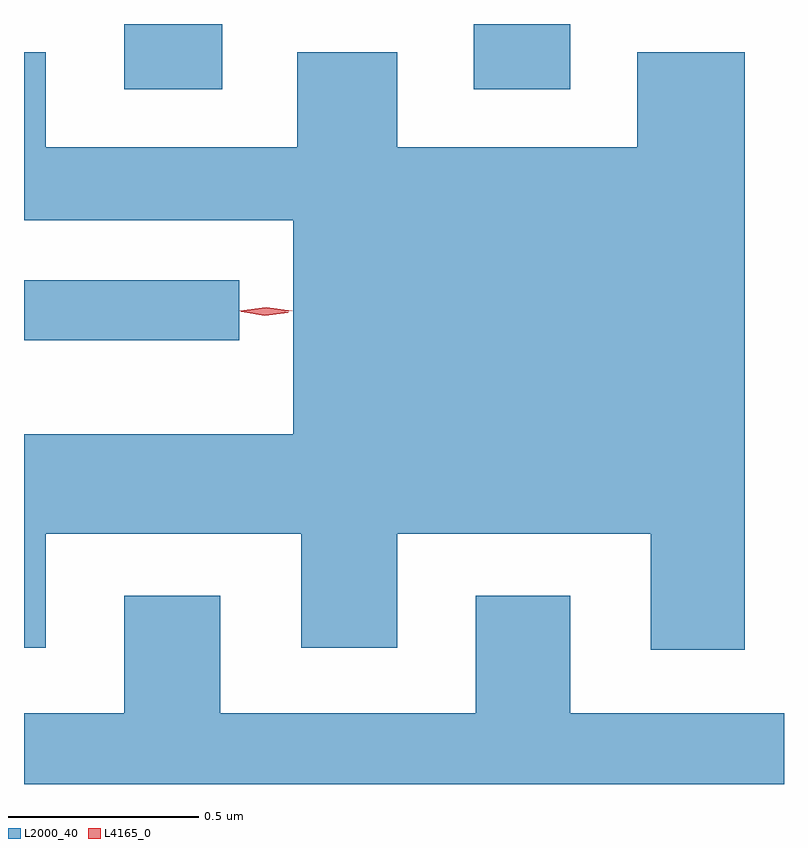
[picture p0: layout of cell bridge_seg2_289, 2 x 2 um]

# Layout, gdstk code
import gdstk
lib = gdstk.Library(unit=1e-6, precision=1e-09)
def R(c, l, rs):  # rectangles x0, y0, x1, y1
    for r in rs: c.add(gdstk.rectangle(r[:2], r[2:], *l))
def P(c, l, *ps):  # polygons
    for p in ps: c.add(gdstk.Polygon(p, *l))
L2000_40 = (2000, 40)
L4165_0 = (4165, 0)

bridge_seg2_289 = lib.new_cell('bridge_seg2_289')
R(bridge_seg2_289, L2000_40, [(643.272,1089.526,643.838,1089.684), (643.536,1090.186,643.794,1090.358), (644.456,1090.186,644.709,1090.358)])
P(bridge_seg2_289, L2000_40, [(645.169,1090.284),(644.886,1090.284),(644.886,1090.034),(644.254,1090.034),(644.254,1090.284),(643.991,1090.284),(643.991,1090.034),(643.329,1090.034),(643.329,1090.284),(643.272,1090.284),(643.272,1089.841),(643.981,1089.841),(643.981,1089.279),(643.272,1089.279),(643.272,1088.716),(643.329,1088.716),(643.329,1089.016),(644.001,1089.016),(644.001,1088.716),(644.254,1088.716),(644.254,1089.016),(644.921,1089.016),(644.921,1088.711),(645.169,1088.711)],
  [(645.272,1088.544),(644.709,1088.544),(644.709,1088.854),(644.461,1088.854),(644.461,1088.544),(643.789,1088.544),(643.789,1088.854),(643.536,1088.854),(643.536,1088.544),(643.272,1088.544),(643.272,1088.358),(645.272,1088.358)])
P(bridge_seg2_289, L4165_0, [(643.905,1089.59),(643.844,1089.601),(643.843,1089.601),(643.844,1089.602),(643.905,1089.61),(643.967,1089.6),(643.968,1089.599),(643.967,1089.598)],
  [(643.909,1089.593),(643.84,1089.603),(643.84,1089.603),(643.84,1089.604),(643.909,1089.613),(643.977,1089.604),(643.978,1089.603),(643.977,1089.603)])

lib.write_gds('bridge_seg2_289.gds')
